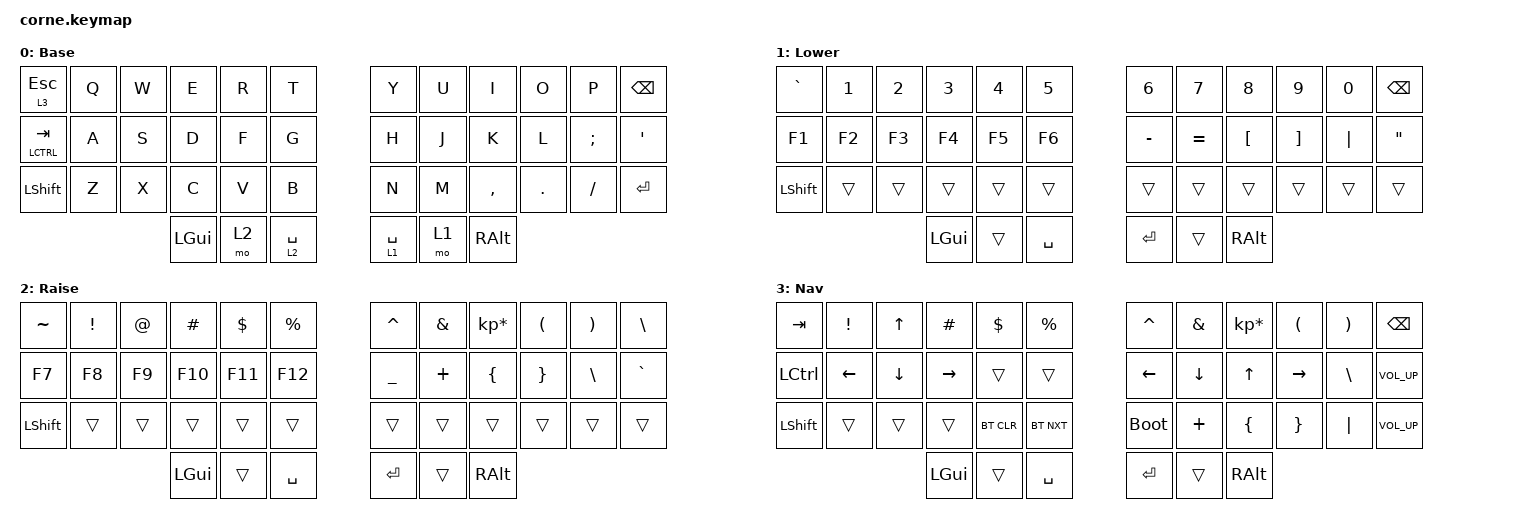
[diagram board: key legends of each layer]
/*
 * Copyright (c) 2020 The ZMK Contributors
 *
 * SPDX-License-Identifier: MIT
 */

#include <behaviors.dtsi>
#include <dt-bindings/zmk/keys.h>
#include <dt-bindings/zmk/bt.h>
//minhg keymap
/ {
        keymap {
                compatible = "zmk,keymap";

                default_layer {
// -----------------------------------------------------------------------------------------
// |  TAB |  Q  |  W  |  E  |  R  |  T  |   |  Y  |  U   |  I  |  O  |  P  | BKSP |
// | CTRL |  A  |  S  |  D  |  F  |  G  |   |  H  |  J   |  K  |  L  |  ;  |  '   |
// | SHFT |  Z  |  X  |  C  |  V  |  B  |   |  N  |  M   |  ,  |  .  |  /  | ESC  |
//                    | GUI | LWR | SPC |   | ENT | RSE  | ALT |
                        label = "Base";
                        bindings = <
   &lt 3 ESC   &kp Q &kp W &kp E &kp R &kp T   &kp Y &kp U  &kp I     &kp O   &kp P    &kp BSPC
   &lt LCTRL TAB &kp A &kp S &kp D &kp F &kp G   &kp H &kp J  &kp K     &kp L   &kp SEMI &kp SQT
   &kp LSHFT &kp Z &kp X &kp C &kp V &kp B   &kp N &kp M  &kp COMMA &kp DOT &kp FSLH &kp RET
                  &kp LGUI &mo 2 &lt 2 SPACE   &lt 1 SPACE &mo 1 &kp RALT
                        >;
                };
                lower_layer {
// -----------------------------------------------------------------------------------------
// |  TAB |  1  |  2  |  3  |  4  |  5  |   |  6  |  7  |  8  |  9  |  0  | BKSP |
// | BTCLR| BT1 | BT2 | BT3 | BT4 | BT5 |   | LFT | DWN |  UP | RGT |     |      |
// | SHFT |     |     |     |     |     |   |     |     |     |     |     |      |
//                    | GUI |     | SPC |   | ENT |     | ALT |
                        label = "Lower";
                        bindings = <
   &kp GRAVE    &kp N1       &kp N2       &kp N3       &kp N4       &kp N5         &kp N6   &kp N7   &kp N8 &kp N9    &kp N0 &kp BSPC
   &kp F1 &kp F2 &kp F3 &kp F4 &kp F5 &kp F6   &kp MINUS &kp EQUAL &kp LBKT        &kp RBKT &kp PIPE &kp DQT
   &kp LSHFT  &trans       &trans       &trans       &trans       &trans         &trans   &trans   &trans &trans    &trans &trans
                          	        &kp LGUI     &trans       &kp SPACE      &kp RET  &trans   &kp RALT
                        >;
                };

                raise_layer {
// -----------------------------------------------------------------------------------------
// |  TAB |  !  |  @  |  #  |  $  |  %  |   |  ^  |  &  |  *  |  (  |  )  | BKSP |
// | CTRL |     |     |     |     |     |   |  -  |  =  |  [  |  ]  |  \  |  `   |
// | SHFT |     |     |     |     |     |   |  _  |  +  |  {  |  }  | "|" |  ~   |
//                    | GUI |     | SPC |   | ENT |     | ALT |
                        label = "Raise";
                        bindings = <
   &kp TILDE    &kp EXCL &kp AT &kp HASH &kp DLLR &kp PRCNT   &kp CARET &kp AMPS  &kp KP_MULTIPLY &kp LPAR &kp RPAR &kp BSLH
   &kp F7 &kp F8 &kp F9 &kp F10 &kp F11 &kp F12     &kp UNDER &kp PLUS  &kp LBRC        &kp RBRC &kp BSLH &kp GRAVE
   &kp LSHFT &trans   &trans &trans   &trans   &trans     &trans  &trans   &trans         &trans  &trans  &trans 
                    	     &kp LGUI &trans   &kp SPACE   &kp RET   &trans    &kp RALT
                        >;
                };
                nav_layer {
// -----------------------------------------------------------------------------------------
// |  TAB |  !  |  @  |  #  |  $  |  %  |   |  ^  |  &  |  *  |  (  |  )  | BKSP |
// | CTRL |     |     |     |     |     |   |  -  |  =  |  [  |  ]  |  \  |  `   |
// | SHFT |     |     |     |     |     |   |  _  |  +  |  {  |  }  | "|" |  ~   |
//                    | GUI |     | SPC |   | ENT |     | ALT |
                        label = "Nav";
                        bindings = <
   &kp  TAB  &kp EXCL &kp UP &kp HASH &kp DLLR &kp PRCNT   &kp CARET &kp AMPS  &kp KP_MULTIPLY &kp LPAR &kp RPAR &kp BSPC
   &kp LCTRL &kp LEFT  &kp DOWN &kp RIGHT   &trans   &trans      &kp LEFT &kp DOWN &kp UP &kp RIGHT &kp BSLH &kp K_VOL_UP
   &kp LSHFT &trans   &trans &trans   &bt BT_CLR   &bt BT_NXT      &bootloader &kp PLUS  &kp LBRC        &kp RBRC &kp PIPE &kp K_VOL_UP
                    	     &kp LGUI &trans   &kp SPACE   &kp RET   &trans    &kp RALT
                        >;
                };
        };
};
